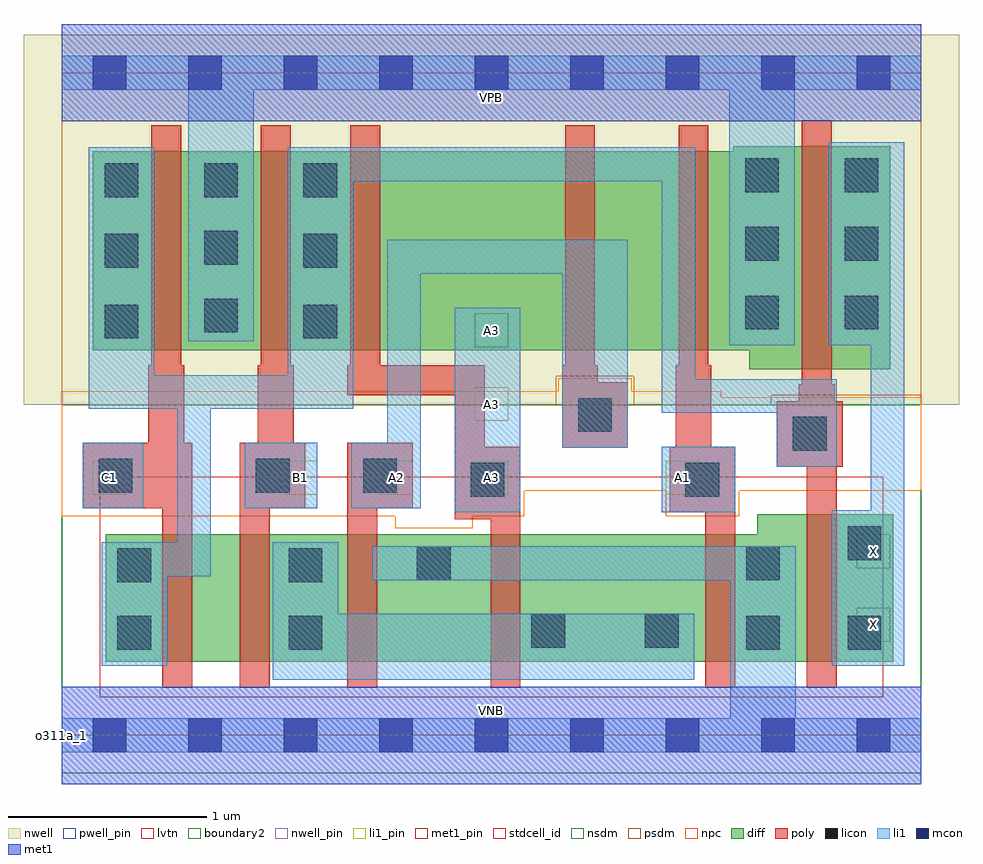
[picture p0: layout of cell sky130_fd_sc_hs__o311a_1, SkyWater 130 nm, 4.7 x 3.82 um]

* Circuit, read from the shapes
.subckt sky130_fd_sc_hs__o311a_1 A1 A2 A3 B1 C1 VGND VNB VPB VPWR X
XM1 n1 C1 n2 VNB sky130_fd_pr__nfet_01v8_lvt w=0.64 l=0.15
XM2 n3 B1 n1 VNB sky130_fd_pr__nfet_01v8_lvt w=0.64 l=0.15
XM3 VGND A2 n3 VNB sky130_fd_pr__nfet_01v8_lvt w=0.64 l=0.15
XM4 n3 A3 VGND VNB sky130_fd_pr__nfet_01v8_lvt w=0.64 l=0.15
XM5 VGND A1 n3 VNB sky130_fd_pr__nfet_01v8_lvt w=0.64 l=0.15
XM6 X n2 VGND VNB sky130_fd_pr__nfet_01v8_lvt w=0.74 l=0.15
XM7 VPWR C1 n2 VPB sky130_fd_pr__pfet_01v8 w=1 l=0.15
XM8 n2 B1 VPWR VPB sky130_fd_pr__pfet_01v8 w=1 l=0.15
XM9 n4 A3 n2 VPB sky130_fd_pr__pfet_01v8 w=1 l=0.15
XM10 n5 A2 n4 VPB sky130_fd_pr__pfet_01v8 w=1 l=0.15
XM11 VPWR A1 n5 VPB sky130_fd_pr__pfet_01v8 w=1 l=0.15
XM12 X n2 VPWR VPB sky130_fd_pr__pfet_01v8 w=1.12 l=0.15
.ends

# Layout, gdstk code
import gdstk
lib = gdstk.Library(unit=1e-6, precision=1e-09)
def R(c, l, rs):  # rectangles x0, y0, x1, y1
    for r in rs: c.add(gdstk.rectangle(r[:2], r[2:], *l))
def A(c, l, x, y, w, h, nx, ny, dx, dy):  # array of equal rectangles
    R(c, l, [(x+i*dx, y+j*dy, x+i*dx+w, y+j*dy+h) for i in range(nx) for j in range(ny)])
def P(c, l, *ps):  # polygons
    for p in ps: c.add(gdstk.Polygon(p, *l))
nwell_pin = (64, 16)
nwell = (64, 20)
diff = (65, 20)
poly = (66, 20)
licon = (66, 44)
li1_pin = (67, 16)
li1 = (67, 20)
mcon = (67, 44)
met1_pin = (68, 16)
met1 = (68, 20)
stdcell_id = (81, 4)
nsdm = (93, 44)
psdm = (94, 20)
npc = (95, 20)
pwell_pin = (122, 16)
lvtn = (125, 44)
boundary2 = (236, 0)

sky130_fd_sc_hs__o311a_1 = lib.new_cell('sky130_fd_sc_hs__o311a_1')
R(sky130_fd_sc_hs__o311a_1, nwell_pin, [(0,3.085,4.32,3.33)])
R(sky130_fd_sc_hs__o311a_1, nwell, [(-0.19,1.66,4.51,3.52)])
P(sky130_fd_sc_hs__o311a_1, diff, [(4.165,2.96),(3.375,2.96),(3.375,2.935),(0.155,2.935),(0.155,1.935),(3.455,1.935),(3.455,1.84),(4.165,1.84)],
  [(4.18,1.11),(3.495,1.11),(3.495,1.01),(0.22,1.01),(0.22,0.37),(4.18,0.37)])
P(sky130_fd_sc_hs__o311a_1, poly, [(3.925,1.68),(3.885,1.68),(3.885,1.765),(3.87,1.765),(3.87,3.09),(3.72,3.09),(3.72,1.765),(3.705,1.765),(3.705,1.68),(3.595,1.68),(3.595,1.35),(3.745,1.35),(3.745,0.24),(3.895,0.24),(3.895,1.35),(3.925,1.35)],
  [(3.385,1.45),(3.265,1.45),(3.265,1.86),(3.25,1.86),(3.25,3.065),(3.1,3.065),(3.1,1.86),(3.085,1.86),(3.085,1.45),(3.055,1.45),(3.055,1.12),(3.235,1.12),(3.235,0.24),(3.385,0.24)],
  [(2.845,1.775),(2.695,1.775),(2.695,1.86),(2.68,1.86),(2.68,3.065),(2.53,3.065),(2.53,1.86),(2.515,1.86),(2.515,1.445),(2.845,1.445)],
  [(2.305,1.45),(2.125,1.45),(2.125,1.86),(1.6,1.86),(1.6,3.065),(1.45,3.065),(1.45,1.86),(1.435,1.86),(1.435,1.71),(1.975,1.71),(1.975,1.085),(2.155,1.085),(2.155,0.24),(2.305,0.24)],
  [(1.765,1.47),(1.435,1.47),(1.435,0.24),(1.585,0.24),(1.585,1.14),(1.765,1.14)],
  [(1.225,1.47),(1.165,1.47),(1.165,1.86),(1.15,1.86),(1.15,3.065),(1,3.065),(1,1.86),(0.985,1.86),(0.985,1.47),(0.895,1.47),(0.895,0.24),(1.045,0.24),(1.045,1.14),(1.225,1.14)],
  [(0.655,1.47),(0.615,1.47),(0.615,1.86),(0.6,1.86),(0.6,3.065),(0.45,3.065),(0.45,1.86),(0.435,1.86),(0.435,1.47),(0.105,1.47),(0.105,1.14),(0.505,1.14),(0.505,0.24),(0.655,0.24)])
A(sky130_fd_sc_hs__o311a_1, licon, 3.435, 2.04, 0.17, 0.17, 1, 3, 0, 0.345)
A(sky130_fd_sc_hs__o311a_1, licon, 3.935, 2.04, 0.17, 0.17, 1, 3, 0, 0.345)
A(sky130_fd_sc_hs__o311a_1, licon, 0.215, 2.705, 0.17, 0.17, 3, 1, 0.5, 0)
R(sky130_fd_sc_hs__o311a_1, licon, [(0.28,0.43,0.45,0.6), (1.14,0.43,1.31,0.6), (3.44,0.43,3.61,0.6), (3.95,0.43,4.12,0.6), (2.36,0.44,2.53,0.61), (2.93,0.44,3.1,0.61), (0.28,0.77,0.45,0.94), (1.14,0.77,1.31,0.94), (1.785,0.78,1.955,0.95), (3.44,0.78,3.61,0.95), (3.95,0.88,4.12,1.05), (2.055,1.2,2.225,1.37), (3.135,1.2,3.305,1.37), (0.185,1.22,0.355,1.39), (0.975,1.22,1.145,1.39), (1.515,1.22,1.685,1.39), (3.675,1.43,3.845,1.6), (2.595,1.525,2.765,1.695), (0.215,1.995,0.385,2.165), (1.215,1.995,1.385,2.165), (0.715,2.025,0.885,2.195), (0.215,2.35,0.385,2.52), (1.215,2.35,1.385,2.52), (0.715,2.365,0.885,2.535)])
A(sky130_fd_sc_hs__o311a_1, li1_pin, 1.115, 1.21, 0.17, 0.17, 3, 1, 0.48, 0)
R(sky130_fd_sc_hs__o311a_1, li1_pin, [(3.995,0.47,4.165,0.64), (3.995,0.84,4.165,1.01), (0.155,1.21,0.325,1.38), (3.035,1.21,3.205,1.38), (2.075,1.58,2.245,1.75), (2.075,1.95,2.245,2.12)])
R(sky130_fd_sc_hs__o311a_1, li1, [(1.975,1.12,2.305,2.15), (3.015,1.12,3.385,1.45), (0.105,1.14,0.41,1.47), (0.92,1.14,1.285,1.47)])
P(sky130_fd_sc_hs__o311a_1, li1, [(3.355,1.96),(3.355,3.245),(0.965,3.245),(0.965,1.98),(0.635,1.98),(0.635,3.245),(0,3.245),(0,3.415),(4.32,3.415),(4.32,3.245),(3.685,3.245),(3.685,1.96)],
  [(3.36,0.085),(3.36,0.78),(1.56,0.78),(1.56,0.95),(3.69,0.95),(3.69,0.085),(4.32,0.085),(4.32,-0.085),(0,-0.085),(0,0.085)],
  [(1.455,1.14),(1.455,1.47),(1.635,1.47),(1.635,2.49),(2.845,2.49),(2.845,1.445),(2.515,1.445),(2.515,2.32),(1.805,2.32),(1.805,1.14)],
  [(0.58,0.97),(0.58,1.64),(0.135,1.64),(0.135,2.955),(0.465,2.955),(0.465,1.81),(1.135,1.81),(1.135,2.955),(3.185,2.955),(3.185,1.79),(3.895,1.79),(3.895,1.35),(3.595,1.35),(3.595,1.62),(3.015,1.62),(3.015,2.785),(1.465,2.785),(1.465,1.64),(0.75,1.64),(0.75,0.8),(0.53,0.8),(0.53,0.35),(0.2,0.35),(0.2,0.97)],
  [(1.06,0.28),(1.06,0.97),(1.39,0.97),(1.39,0.61),(3.18,0.61),(3.18,0.28)],
  [(3.87,0.35),(3.87,1.13),(4.065,1.13),(4.065,1.96),(3.855,1.96),(3.855,2.98),(4.235,2.98),(4.235,0.35)])
A(sky130_fd_sc_hs__o311a_1, mcon, 0.155, -0.085, 0.17, 0.17, 9, 2, 0.48, 3.33)
R(sky130_fd_sc_hs__o311a_1, met1_pin, [(0,0,4.32,0.245), (0,3.085,4.32,3.33)])
R(sky130_fd_sc_hs__o311a_1, met1, [(0,-0.245,4.32,0.245), (0,3.085,4.32,3.575)])
R(sky130_fd_sc_hs__o311a_1, stdcell_id, [(0,0,4.32,3.33)])
R(sky130_fd_sc_hs__o311a_1, nsdm, [(0,-0.19,4.32,1.66)])
P(sky130_fd_sc_hs__o311a_1, psdm, [(4.32,3.52),(0,3.52),(0,1.66),(2.485,1.66),(2.485,1.805),(2.875,1.805),(2.875,1.66),(3.565,1.66),(3.565,1.71),(4.32,1.71)])
P(sky130_fd_sc_hs__o311a_1, npc, [(4.32,1.7),(3.315,1.7),(3.315,1.73),(2.865,1.73),(2.865,1.795),(2.495,1.795),(2.495,1.73),(0,1.73),(0,1.1),(1.675,1.1),(1.675,1.04),(2.065,1.04),(2.065,1.1),(2.325,1.1),(2.325,1.23),(3.035,1.23),(3.035,1.1),(3.405,1.1),(3.405,1.23),(4.32,1.23)])
R(sky130_fd_sc_hs__o311a_1, pwell_pin, [(0,0,4.32,0.245)])
R(sky130_fd_sc_hs__o311a_1, lvtn, [(0.19,0.19,4.13,1.3)])
R(sky130_fd_sc_hs__o311a_1, boundary2, [(0,0,4.32,3.33)])
sky130_fd_sc_hs__o311a_1.add(gdstk.Label('o311a_1', (0,0), layer=83, texttype=44))
sky130_fd_sc_hs__o311a_1.add(gdstk.Label('VNB', (2.16,0.123), layer=64, texttype=59))
sky130_fd_sc_hs__o311a_1.add(gdstk.Label('VPB', (2.16,3.208), layer=64, texttype=5))
sky130_fd_sc_hs__o311a_1.add(gdstk.Label('VPWR', (2.16,3.208), layer=68, texttype=5))
sky130_fd_sc_hs__o311a_1.add(gdstk.Label('VGND', (2.16,0.123), layer=68, texttype=5))
sky130_fd_sc_hs__o311a_1.add(gdstk.Label('C1', (0.24,1.295), layer=67, texttype=5))
sky130_fd_sc_hs__o311a_1.add(gdstk.Label('B1', (1.2,1.295), layer=67, texttype=5))
sky130_fd_sc_hs__o311a_1.add(gdstk.Label('A3', (2.16,1.295), layer=67, texttype=5))
sky130_fd_sc_hs__o311a_1.add(gdstk.Label('A3', (2.16,1.665), layer=67, texttype=5))
sky130_fd_sc_hs__o311a_1.add(gdstk.Label('A3', (2.16,2.035), layer=67, texttype=5))
sky130_fd_sc_hs__o311a_1.add(gdstk.Label('A2', (1.68,1.295), layer=67, texttype=5))
sky130_fd_sc_hs__o311a_1.add(gdstk.Label('A1', (3.12,1.295), layer=67, texttype=5))
sky130_fd_sc_hs__o311a_1.add(gdstk.Label('X', (4.08,0.555), layer=67, texttype=5))
sky130_fd_sc_hs__o311a_1.add(gdstk.Label('X', (4.08,0.925), layer=67, texttype=5))

lib.write_gds('sky130_fd_sc_hs__o311a_1.gds')
